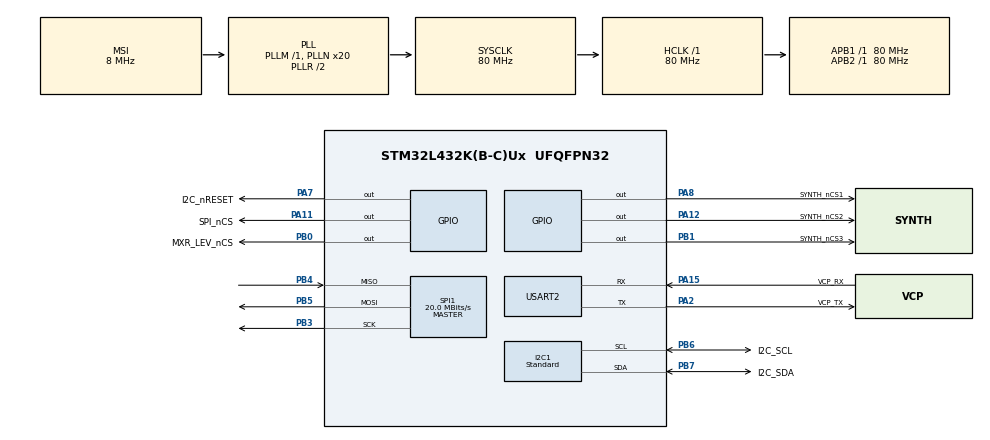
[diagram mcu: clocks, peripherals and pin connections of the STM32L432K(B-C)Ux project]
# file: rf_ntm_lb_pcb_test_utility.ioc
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FREERTOS.Queues01=serialRxEvent,128,uint32_t,0,Dynamic,NULL,NULL;serialCmdTaskRxData,128,uint8_t,0,Dynamic,NULL,NULL;serialCmdTaskTxData,512,uint8_t,0,Dynamic,NULL,NULL
FREERTOS.Tasks01=defaultTask,0,128,StartDefaultTask,Default,NULL,Dynamic,NULL,NULL;serialBufferTask,0,256,sbt_SerialBufferTask,As external,NULL,Dynamic,NULL,NULL;serialCmdTask,-1,512,sct_SerialCmdTask,As external,NULL,Dynamic,NULL,NULL
FREERTOS.configMAX_TASK_NAME_LEN=32
FREERTOS.configTOTAL_HEAP_SIZE=8192
I2C1.I2C_Speed_Mode=I2C_Standard
I2C1.Timing=0x10909CEC
Mcu.Family=STM32L4
Mcu.Name=STM32L432K(B-C)Ux
Mcu.Package=UFQFPN32
NVIC.PriorityGroup=NVIC_PRIORITYGROUP_4
NVIC.TIM1_UP_TIM16_IRQn=true\:0\:0\:false\:false\:true\:false\:false\:true
NVIC.TimeBase=TIM1_UP_TIM16_IRQn
NVIC.TimeBaseIP=TIM16
NVIC.USART2_IRQn=true\:5\:0\:true\:false\:true\:true\:true\:true
PA0.GPIO_Label=MCO [High speed clock in]
PA0.Signal=RCC_CK_IN
PA11.GPIO_Label=SPI_nCS
PA11.PinState=GPIO_PIN_RESET
PA11.Signal=GPIO_Output
PA12.GPIO_Label=SYNTH_nCS2
PA12.PinState=GPIO_PIN_SET
PA12.Signal=GPIO_Output
PA13\ (JTMS-SWDIO).GPIO_Label=SWDIO
PA13\ (JTMS-SWDIO).Mode=Serial_Wire
PA13\ (JTMS-SWDIO).Signal=SYS_JTMS-SWDIO
PA14\ (JTCK-SWCLK).GPIO_Label=SWCLK
PA14\ (JTCK-SWCLK).Mode=Serial_Wire
PA14\ (JTCK-SWCLK).Signal=SYS_JTCK-SWCLK
PA15\ (JTDI).GPIO_Label=VCP_RX
PA15\ (JTDI).Mode=Asynchronous
PA15\ (JTDI).Signal=USART2_RX
PA2.GPIO_Label=VCP_TX
PA2.Mode=Asynchronous
PA2.Signal=USART2_TX
PA7.GPIO_Label=I2C_nRESET
PA7.Signal=GPIO_Output
PA8.GPIO_Label=SYNTH_nCS1
PA8.PinState=GPIO_PIN_SET
PA8.Signal=GPIO_Output
PB0.GPIO_Label=MXR_LEV_nCS
PB0.PinState=GPIO_PIN_SET
PB0.Signal=GPIO_Output
PB1.GPIO_Label=SYNTH_nCS3
PB1.PinState=GPIO_PIN_SET
PB1.Signal=GPIO_Output
PB3\ (JTDO-TRACESWO).Mode=Full_Duplex_Master
PB3\ (JTDO-TRACESWO).Signal=SPI1_SCK
PB4\ (NJTRST).Mode=Full_Duplex_Master
PB4\ (NJTRST).Signal=SPI1_MISO
PB5.Mode=Full_Duplex_Master
PB5.Signal=SPI1_MOSI
PB6.GPIO_Label=I2C_SCL
PB6.Mode=I2C
PB6.Signal=I2C1_SCL
PB7.GPIO_Label=I2C_SDA
PB7.Mode=I2C
PB7.Signal=I2C1_SDA
ProjectManager.HeapSize=0x200
ProjectManager.StackSize=0x400
ProjectManager.TargetToolchain=STM32CubeIDE
RCC.ADCFreq_Value=32000000
RCC.AHBFreq_Value=80000000
RCC.APB1Freq_Value=80000000
RCC.APB1TimFreq_Value=80000000
RCC.APB2Freq_Value=80000000
RCC.APB2TimFreq_Value=80000000
RCC.CortexFreq_Value=80000000
RCC.HCLKFreq_Value=80000000
RCC.HSE_VALUE=8000000
RCC.HSI16_VALUE=16000000
RCC.HSI48_VALUE=48000000
RCC.HSI_VALUE=16000000
RCC.LSE_VALUE=32768
RCC.MSIClockRange=RCC_MSIRANGE_7
RCC.MSI_VALUE=8000000
RCC.PLLMUL=RCC_PLLMUL_4
RCC.PLLN=20
RCC.SYSCLKFreq_VALUE=80000000
RCC.SYSCLKSource=RCC_SYSCLKSOURCE_PLLCLK
RCC.USBFreq_Value=32000000
RCC.VCOOutputFreq_Value=160000000
SPI1.BaudRatePrescaler=SPI_BAUDRATEPRESCALER_4
SPI1.CalculateBaudRate=20.0 MBits/s
SPI1.DataSize=SPI_DATASIZE_8BIT
SPI1.Direction=SPI_DIRECTION_2LINES
SPI1.Mode=SPI_MODE_MASTER
SPI1.VirtualType=VM_MASTER
USART2.VirtualMode-Asynchronous=VM_ASYNC
VP_FREERTOS_VS_CMSIS_V1.Mode=CMSIS_V1
VP_SYS_VS_tim16.Mode=TIM16
board=NUCLEO-L432KC

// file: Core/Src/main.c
/* USER CODE BEGIN Header */
/**
  ******************************************************************************
  * @file           : main.c
  * @brief          : Main program body
  ******************************************************************************
  * @attention
  *
  * <h2><center>&copy; Copyright (c) 2020 STMicroelectronics.
  * All rights reserved.</center></h2>
  *
  * This software component is licensed by ST under BSD 3-Clause license,
  * the "License"; You may not use this file except in compliance with the
  * License. You may obtain a copy of the License at:
  *                        opensource.org/licenses/BSD-3-Clause
  *
  ******************************************************************************
  */
/* USER CODE END Header */
#include "main.h"
#include "cmsis_os.h"

/* USER CODE BEGIN Includes */
#include "serial_buffer_task.h"
#include "serial_cmd_task.h"
/* USER CODE END Includes */

I2C_HandleTypeDef hi2c1;

SPI_HandleTypeDef hspi1;

UART_HandleTypeDef huart2;

osThreadId defaultTaskHandle;
osThreadId serialBufferTaskHandle;
osThreadId serialCmdTaskHandle;
osMessageQId serialRxEventHandle;
osMessageQId serialCmdTaskRxDataHandle;
osMessageQId serialCmdTaskTxDataHandle;

void SystemClock_Config(void);
static void MX_GPIO_Init(void);
static void MX_I2C1_Init(void);
static void MX_SPI1_Init(void);
static void MX_USART2_UART_Init(void);
void StartDefaultTask(void const * argument);
extern void sbt_SerialBufferTask(void const * argument);
extern void sct_SerialCmdTask(void const * argument);

int main(void)
{
  /* USER CODE BEGIN 1 */
	sbt_Init_t sbt_init_data;
	sct_Init_t sct_init_data;
  /* USER CODE END 1 */

  /* MCU Configuration--------------------------------------------------------*/

  /* Reset of all peripherals, Initializes the Flash interface and the Systick. */
  HAL_Init();

  /* Configure the system clock */
  SystemClock_Config();

  /* Initialize all configured peripherals */
  MX_GPIO_Init();
  MX_I2C1_Init();
  MX_SPI1_Init();
  MX_USART2_UART_Init();

  /* Create the queue(s) */
  /* definition and creation of serialRxEvent */
  osMessageQDef(serialRxEvent, 128, uint32_t);
  serialRxEventHandle = osMessageCreate(osMessageQ(serialRxEvent), NULL);

  /* definition and creation of serialCmdTaskRxData */
  osMessageQDef(serialCmdTaskRxData, 128, uint8_t);
  serialCmdTaskRxDataHandle = osMessageCreate(osMessageQ(serialCmdTaskRxData), NULL);

  /* definition and creation of serialCmdTaskTxData */
  osMessageQDef(serialCmdTaskTxData, 512, uint8_t);
  serialCmdTaskTxDataHandle = osMessageCreate(osMessageQ(serialCmdTaskTxData), NULL);

  /* Create the thread(s) */
  /* definition and creation of defaultTask */
  osThreadDef(defaultTask, StartDefaultTask, osPriorityNormal, 0, 128);
  defaultTaskHandle = osThreadCreate(osThread(defaultTask), NULL);

  /* definition and creation of serialBufferTask */
  osThreadDef(serialBufferTask, sbt_SerialBufferTask, osPriorityNormal, 0, 256);
  serialBufferTaskHandle = osThreadCreate(osThread(serialBufferTask), NULL);

  /* definition and creation of serialCmdTask */
  osThreadDef(serialCmdTask, sct_SerialCmdTask, osPriorityBelowNormal, 0, 512);
  serialCmdTaskHandle = osThreadCreate(osThread(serialCmdTask), NULL);

  /* USER CODE BEGIN RTOS_THREADS */
  /* add threads, ... */
  sbt_init_data.rx_event_queue				= serialRxEventHandle;
  sbt_init_data.no_uarts					= 1;
  sbt_init_data.uarts[0].huart 				= &huart2;
  sbt_init_data.uarts[0].uart_rx_data_queue	= serialCmdTaskRxDataHandle;
  sbt_init_data.uarts[0].uart_tx_data_queue	= serialCmdTaskTxDataHandle;
  sbt_InitTask(sbt_init_data);

  sct_init_data.tx_data_queue 				= serialCmdTaskTxDataHandle;
  sct_init_data.rx_data_queue 				= serialCmdTaskRxDataHandle;
  sct_init_data.i2c_device					= &hi2c1;
  sct_init_data.i2c_reset_gpio_port 		= I2C_nRESET_GPIO_Port;
  sct_init_data.i2c_reset_gpio_pin			= I2C_nRESET_Pin;
  sct_init_data.spi_device					= &hspi1;
  sct_init_data.global_ncs_gpio_port		= SPI_nCS_GPIO_Port;
  sct_init_data.global_ncs_gpio_pin			= SPI_nCS_Pin;
  sct_init_data.synth1_ncs_gpio_port		= SYNTH_nCS1_GPIO_Port;
  sct_init_data.synth1_ncs_gpio_pin			= SYNTH_nCS1_Pin;
  sct_init_data.synth2_ncs_gpio_port		= SYNTH_nCS2_GPIO_Port;
  sct_init_data.synth2_ncs_gpio_pin			= SYNTH_nCS2_Pin;
  sct_init_data.mxr_lev_adc_ncs_gpio_port	= MXR_LEV_nCS_GPIO_Port;
  sct_init_data.mxr_lev_adc_ncs_gpio_pin	= MXR_LEV_nCS_Pin;
  sct_InitTask(sct_init_data);
  /* USER CODE END RTOS_THREADS */

  /* Start scheduler */
  osKernelStart();

  /* We should never get here as control is now taken by the scheduler */
  /* Infinite loop */
  while (1)
  {

  }
}

void SystemClock_Config(void)
{
  RCC_OscInitTypeDef RCC_OscInitStruct = {0};
  RCC_ClkInitTypeDef RCC_ClkInitStruct = {0};
  RCC_PeriphCLKInitTypeDef PeriphClkInit = {0};

  /** Initializes the RCC Oscillators according to the specified parameters
  * in the RCC_OscInitTypeDef structure.
  */
  RCC_OscInitStruct.OscillatorType = RCC_OSCILLATORTYPE_MSI;
  RCC_OscInitStruct.MSIState = RCC_MSI_ON;
  RCC_OscInitStruct.MSICalibrationValue = 0;
  RCC_OscInitStruct.MSIClockRange = RCC_MSIRANGE_7;
  RCC_OscInitStruct.PLL.PLLState = RCC_PLL_ON;
  RCC_OscInitStruct.PLL.PLLSource = RCC_PLLSOURCE_MSI;
  RCC_OscInitStruct.PLL.PLLM = 1;
  RCC_OscInitStruct.PLL.PLLN = 20;
  RCC_OscInitStruct.PLL.PLLP = RCC_PLLP_DIV7;
  RCC_OscInitStruct.PLL.PLLQ = RCC_PLLQ_DIV2;
  RCC_OscInitStruct.PLL.PLLR = RCC_PLLR_DIV2;
  if (HAL_RCC_OscConfig(&RCC_OscInitStruct) != HAL_OK)
  {
    Error_Handler();
  }
  /** Initializes the CPU, AHB and APB buses clocks
  */
  RCC_ClkInitStruct.ClockType = RCC_CLOCKTYPE_HCLK|RCC_CLOCKTYPE_SYSCLK
                              |RCC_CLOCKTYPE_PCLK1|RCC_CLOCKTYPE_PCLK2;
  RCC_ClkInitStruct.SYSCLKSource = RCC_SYSCLKSOURCE_PLLCLK;
  RCC_ClkInitStruct.AHBCLKDivider = RCC_SYSCLK_DIV1;
  RCC_ClkInitStruct.APB1CLKDivider = RCC_HCLK_DIV1;
  RCC_ClkInitStruct.APB2CLKDivider = RCC_HCLK_DIV1;

  if (HAL_RCC_ClockConfig(&RCC_ClkInitStruct, FLASH_LATENCY_4) != HAL_OK)
  {
    Error_Handler();
  }
  PeriphClkInit.PeriphClockSelection = RCC_PERIPHCLK_USART2|RCC_PERIPHCLK_I2C1;
  PeriphClkInit.Usart2ClockSelection = RCC_USART2CLKSOURCE_PCLK1;
  PeriphClkInit.I2c1ClockSelection = RCC_I2C1CLKSOURCE_PCLK1;
  if (HAL_RCCEx_PeriphCLKConfig(&PeriphClkInit) != HAL_OK)
  {
    Error_Handler();
  }
  /** Configure the main internal regulator output voltage
  */
  if (HAL_PWREx_ControlVoltageScaling(PWR_REGULATOR_VOLTAGE_SCALE1) != HAL_OK)
  {
    Error_Handler();
  }
}

static void MX_I2C1_Init(void)
{

  hi2c1.Instance = I2C1;
  hi2c1.Init.Timing = 0x10909CEC;
  hi2c1.Init.OwnAddress1 = 0;
  hi2c1.Init.AddressingMode = I2C_ADDRESSINGMODE_7BIT;
  hi2c1.Init.DualAddressMode = I2C_DUALADDRESS_DISABLE;
  hi2c1.Init.OwnAddress2 = 0;
  hi2c1.Init.OwnAddress2Masks = I2C_OA2_NOMASK;
  hi2c1.Init.GeneralCallMode = I2C_GENERALCALL_DISABLE;
  hi2c1.Init.NoStretchMode = I2C_NOSTRETCH_DISABLE;
  if (HAL_I2C_Init(&hi2c1) != HAL_OK)
  {
    Error_Handler();
  }
  /** Configure Analogue filter
  */
  if (HAL_I2CEx_ConfigAnalogFilter(&hi2c1, I2C_ANALOGFILTER_ENABLE) != HAL_OK)
  {
    Error_Handler();
  }
  /** Configure Digital filter
  */
  if (HAL_I2CEx_ConfigDigitalFilter(&hi2c1, 0) != HAL_OK)
  {
    Error_Handler();
  }

}

static void MX_SPI1_Init(void)
{

  /* SPI1 parameter configuration*/
  hspi1.Instance = SPI1;
  hspi1.Init.Mode = SPI_MODE_MASTER;
  hspi1.Init.Direction = SPI_DIRECTION_2LINES;
  hspi1.Init.DataSize = SPI_DATASIZE_8BIT;
  hspi1.Init.CLKPolarity = SPI_POLARITY_LOW;
  hspi1.Init.CLKPhase = SPI_PHASE_1EDGE;
  hspi1.Init.NSS = SPI_NSS_SOFT;
  hspi1.Init.BaudRatePrescaler = SPI_BAUDRATEPRESCALER_4;
  hspi1.Init.FirstBit = SPI_FIRSTBIT_MSB;
  hspi1.Init.TIMode = SPI_TIMODE_DISABLE;
  hspi1.Init.CRCCalculation = SPI_CRCCALCULATION_DISABLE;
  hspi1.Init.CRCPolynomial = 7;
  hspi1.Init.CRCLength = SPI_CRC_LENGTH_DATASIZE;
  hspi1.Init.NSSPMode = SPI_NSS_PULSE_ENABLE;
  if (HAL_SPI_Init(&hspi1) != HAL_OK)
  {
    Error_Handler();
  }

}

static void MX_USART2_UART_Init(void)
{

  huart2.Instance = USART2;
  huart2.Init.BaudRate = 115200;
  huart2.Init.WordLength = UART_WORDLENGTH_8B;
  huart2.Init.StopBits = UART_STOPBITS_1;
  huart2.Init.Parity = UART_PARITY_NONE;
  huart2.Init.Mode = UART_MODE_TX_RX;
  huart2.Init.HwFlowCtl = UART_HWCONTROL_NONE;
  huart2.Init.OverSampling = UART_OVERSAMPLING_16;
  huart2.Init.OneBitSampling = UART_ONE_BIT_SAMPLE_DISABLE;
  huart2.AdvancedInit.AdvFeatureInit = UART_ADVFEATURE_NO_INIT;
  if (HAL_UART_Init(&huart2) != HAL_OK)
  {
    Error_Handler();
  }

}

static void MX_GPIO_Init(void)
{
  GPIO_InitTypeDef GPIO_InitStruct = {0};

  /* GPIO Ports Clock Enable */
  __HAL_RCC_GPIOA_CLK_ENABLE();
  __HAL_RCC_GPIOB_CLK_ENABLE();

  /*Configure GPIO pin Output Level */
  HAL_GPIO_WritePin(GPIOA, I2C_nRESET_Pin|SPI_nCS_Pin, GPIO_PIN_RESET);

  /*Configure GPIO pin Output Level */
  HAL_GPIO_WritePin(GPIOB, MXR_LEV_nCS_Pin|SYNTH_nCS3_Pin, GPIO_PIN_SET);

  /*Configure GPIO pin Output Level */
  HAL_GPIO_WritePin(GPIOA, SYNTH_nCS1_Pin|SYNTH_nCS2_Pin, GPIO_PIN_SET);

  /*Configure GPIO pins : I2C_nRESET_Pin SYNTH_nCS1_Pin SPI_nCS_Pin SYNTH_nCS2_Pin */
  GPIO_InitStruct.Pin = I2C_nRESET_Pin|SYNTH_nCS1_Pin|SPI_nCS_Pin|SYNTH_nCS2_Pin;
  GPIO_InitStruct.Mode = GPIO_MODE_OUTPUT_PP;
  GPIO_InitStruct.Pull = GPIO_NOPULL;
  GPIO_InitStruct.Speed = GPIO_SPEED_FREQ_LOW;
  HAL_GPIO_Init(GPIOA, &GPIO_InitStruct);

  /*Configure GPIO pins : MXR_LEV_nCS_Pin SYNTH_nCS3_Pin */
  GPIO_InitStruct.Pin = MXR_LEV_nCS_Pin|SYNTH_nCS3_Pin;
  GPIO_InitStruct.Mode = GPIO_MODE_OUTPUT_PP;
  GPIO_InitStruct.Pull = GPIO_NOPULL;
  GPIO_InitStruct.Speed = GPIO_SPEED_FREQ_LOW;
  HAL_GPIO_Init(GPIOB, &GPIO_InitStruct);

}

void StartDefaultTask(void const * argument)
{
  for(;;)
  {
	  osDelay(1);
  }
}

void HAL_TIM_PeriodElapsedCallback(TIM_HandleTypeDef *htim)
{
  if (htim->Instance == TIM16) {
    HAL_IncTick();
  }
}

void Error_Handler(void)
{
}

/************************ (C) COPYRIGHT STMicroelectronics *****END OF FILE****/
